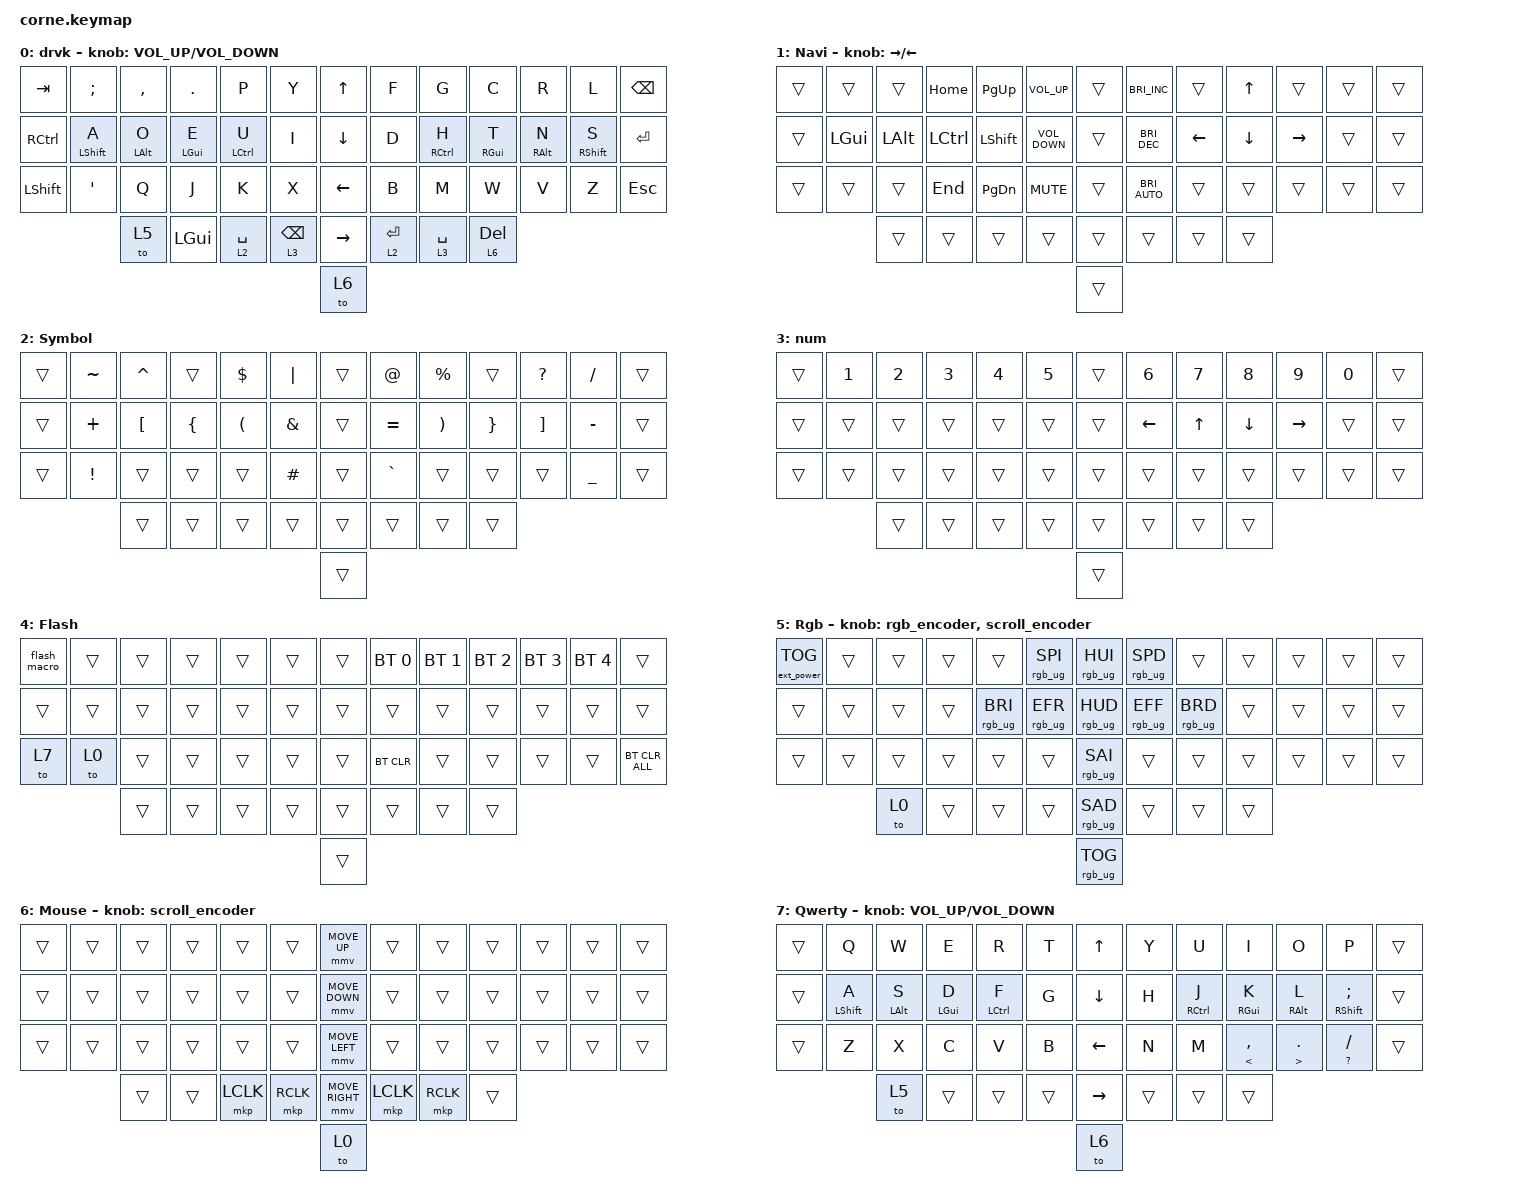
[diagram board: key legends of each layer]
#define ZMK_MOUSE_DEFAULT_SCRL_VAL 35 // 10

#include <behaviors/mouse_keys.dtsi>
#include <behaviors.dtsi>
#include <dt-bindings/zmk/bt.h>
#include <dt-bindings/zmk/ext_power.h>
#include <dt-bindings/zmk/keys.h>
#include <dt-bindings/zmk/mouse.h>
#include <dt-bindings/zmk/rgb.h>

&msc {
    acceleration-exponent = <0>;      // 0
    time-to-max-speed-ms = <0>;       // 300
    delay-ms = <0>;                   // 0
};

&mmv {
    time-to-max-speed-ms = <400>;
    acceleration-exponent = <1>;
};

/ {
    macros {
        flash_macro: flash_macro {
            compatible = "zmk,behavior-macro";
            #binding-cells = <0>;
            bindings = <&bootloader>;
        };
    };

    behaviors {
        hm: homerow_mods {
            compatible = "zmk,behavior-hold-tap";
            label = "HOMEROW_MODS";
            bindings = <&kp>, <&kp>;

            #binding-cells = <2>;
            tapping-term-ms = <200>;
            quick-tap-ms = <180>;
            flavor = "tap-preferred";
        };

        ltq: ltq {
            compatible = "zmk,behavior-hold-tap";
            label = "LTQ";
            bindings = <&mo>, <&kp>;

            #binding-cells = <2>;
            tapping-term-ms = <200>;
            quick-tap-ms = <180>;
        };

        as: auto_shift {
            compatible = "zmk,behavior-hold-tap";
            label = "AUTO_SHIFT";
            bindings = <&kp>, <&kp>;

            #binding-cells = <2>;
            tapping-term-ms = <135>;
            quick-tap-ms = <0>;
        };

        rgb_encoder: rgb_encoder {
            compatible = "zmk,behavior-sensor-rotate";
            label = "RGB_ENCODER";
            #sensor-binding-cells = <0>;
            bindings = <&rgb_ug RGB_BRI>, <&rgb_ug RGB_BRD>;
        };

        scroll_encoder: scroll_encoder {
            compatible = "zmk,behavior-sensor-rotate";
            #sensor-binding-cells = <0>;
            bindings = <&msc SCRL_UP>, <&msc SCRL_DOWN>;

            tap-ms = <30>;
        };
    };

    combos {
        compatible = "zmk,combos";

        esc {
            bindings = <&kp ESCAPE>;
            key-positions = <0 1>;
        };

        left_bkt {
            bindings = <&kp LEFT_BRACKET>;
            key-positions = <3 4>;
        };

        right_bkt {
            bindings = <&kp RIGHT_BRACKET>;
            key-positions = <9 8>;
        };

        left_par {
            bindings = <&kp LEFT_PARENTHESIS>;
            key-positions = <16 17>;
        };

        right_par {
            bindings = <&kp RIGHT_PARENTHESIS>;
            key-positions = <21 22>;
        };

        left_brace {
            bindings = <&kp LEFT_BRACE>;
            key-positions = <29 30>;
        };

        right_brace {
            bindings = <&kp RIGHT_BRACE>;
            key-positions = <34 35>;
        };

        bac {
            bindings = <&kp BACKSLASH>;
            key-positions = <5 7>;
        };

        pipe {
            bindings = <&kp PIPE>;
            key-positions = <18 20>;
        };
    };

    keymap {
        compatible = "zmk,keymap";

        DVRK {
            bindings = <
&kp TAB    &kp SEMI      &kp COMMA   &kp DOT         &kp P         &kp Y               &kp UP_ARROW     &kp F         &kp G         &kp C            &kp R       &kp L        &kp BSPC
&kp RCTRL  &hm LSHIFT A  &hm LALT O  &hm LEFT_GUI E  &hm LCTRL U   &kp I               &kp DOWN_ARROW   &kp D         &hm RCTRL H   &hm RIGHT_GUI T  &hm RALT N  &hm RSHFT S  &kp RET
&kp LSHFT  &kp SQT       &kp Q       &kp J           &kp K         &kp X               &kp LEFT_ARROW   &kp B         &kp M         &kp W            &kp V       &kp Z        &kp ESCAPE
                         &to 5       &kp LGUI        &ltq 2 SPACE  &ltq 3 BACKSPACE    &kp RIGHT_ARROW  &ltq 2 ENTER  &ltq 3 SPACE  &ltq 6 DELETE
                                                                                       &to 6
            >;

            label = "drvk";
            sensor-bindings = <&inc_dec_kp C_VOLUME_UP C_VOLUME_DOWN>;
        };

        Navi {
            bindings = <
&trans  &trans        &trans        &kp HOME          &kp PAGE_UP     &kp C_VOLUME_UP      &trans  &kp C_BRIGHTNESS_INC   &trans          &kp UP_ARROW    &trans           &trans  &trans
&trans  &kp LEFT_GUI  &kp LEFT_ALT  &kp LEFT_CONTROL  &kp LEFT_SHIFT  &kp C_VOLUME_DOWN    &trans  &kp C_BRIGHTNESS_DEC   &kp LEFT_ARROW  &kp DOWN_ARROW  &kp RIGHT_ARROW  &trans  &trans
&trans  &trans        &trans        &kp END           &kp PAGE_DOWN   &kp K_MUTE           &trans  &kp C_BRIGHTNESS_AUTO  &trans          &trans          &trans           &trans  &trans
                      &trans        &trans            &trans          &trans               &trans  &trans                 &trans          &trans
                                                                                           &trans
            >;

            sensor-bindings = <&inc_dec_kp RIGHT_ARROW LEFT_ARROW>;
            label = "Navi";
        };

        Symbol {
            bindings = <
&trans  &kp TILDE        &kp CARET  &trans    &kp DOLLAR  &kp PIPE    &trans  &kp AT     &kp PERCENT  &trans    &kp QUESTION  &kp SLASH       &trans
&trans  &kp PLUS         &kp LBKT   &kp LBRC  &kp LPAR    &kp AMPS    &trans  &kp EQUAL  &kp RPAR     &kp RBRC  &kp RBKT      &kp MINUS       &trans
&trans  &kp EXCLAMATION  &trans     &trans    &trans      &kp HASH    &trans  &kp GRAVE  &trans       &trans    &trans        &kp UNDERSCORE  &trans
                         &trans     &trans    &trans      &trans      &trans  &trans     &trans       &trans
                                                                      &trans
            >;

            label = "Symbol";
        };

        NUM {
            bindings = <
&trans  &kp NUMBER_1  &kp NUMBER_2  &kp NUMBER_3  &kp NUMBER_4  &kp NUMBER_5    &trans  &kp NUMBER_6    &kp NUMBER_7  &kp NUMBER_8  &kp NUMBER_9  &kp NUMBER_0  &trans
&trans  &trans        &trans        &trans        &trans        &trans          &trans  &kp LEFT_ARROW  &kp UP        &kp DOWN      &kp RIGHT     &trans        &trans
&trans  &trans        &trans        &trans        &trans        &trans          &trans  &trans          &trans        &trans        &trans        &trans        &trans
                      &trans        &trans        &trans        &trans          &trans  &trans          &trans        &trans
                                                                                &trans
            >;

            label = "num";
        };

        Flash {
            bindings = <
&flash_macro  &trans  &trans  &trans  &trans  &trans    &trans  &bt BT_SEL 0  &bt BT_SEL 1  &bt BT_SEL 2  &bt BT_SEL 3  &bt BT_SEL 4  &trans
&trans        &trans  &trans  &trans  &trans  &trans    &trans  &trans        &trans        &trans        &trans        &trans        &trans
&to 7         &to 0   &trans  &trans  &trans  &trans    &trans  &bt BT_CLR    &trans        &trans        &trans        &trans        &bt BT_CLR_ALL
                      &trans  &trans  &trans  &trans    &trans  &trans        &trans        &trans
                                                        &trans
            >;

            label = "Flash";
        };

        Rgb {
            bindings = <
&ext_power EP_TOG  &trans  &trans  &trans  &trans           &rgb_ug RGB_SPI    &rgb_ug RGB_HUI  &rgb_ug RGB_SPD  &trans           &trans  &trans  &trans  &trans
&trans             &trans  &trans  &trans  &rgb_ug RGB_BRI  &rgb_ug RGB_EFR    &rgb_ug RGB_HUD  &rgb_ug RGB_EFF  &rgb_ug RGB_BRD  &trans  &trans  &trans  &trans
&trans             &trans  &trans  &trans  &trans           &trans             &rgb_ug RGB_SAI  &trans           &trans           &trans  &trans  &trans  &trans
                           &to 0   &trans  &trans           &trans             &rgb_ug RGB_SAD  &trans           &trans           &trans
                                                                               &rgb_ug RGB_TOG
            >;

            label = "Rgb";
            sensor-bindings = <&rgb_encoder &scroll_encoder>;
        };

        Mouse {
            bindings = <
&trans  &trans  &trans  &trans  &trans     &trans       &mmv MOVE_UP     &trans     &trans     &trans  &trans  &trans  &trans
&trans  &trans  &trans  &trans  &trans     &trans       &mmv MOVE_DOWN   &trans     &trans     &trans  &trans  &trans  &trans
&trans  &trans  &trans  &trans  &trans     &trans       &mmv MOVE_LEFT   &trans     &trans     &trans  &trans  &trans  &trans
                &trans  &trans  &mkp LCLK  &mkp RCLK    &mmv MOVE_RIGHT  &mkp LCLK  &mkp RCLK  &trans
                                                        &to 0
            >;

            label = "Mouse";
            sensor-bindings = <&scroll_encoder>;
        };

        QWERTY {
            label = "Qwerty";
            bindings = <
&trans  &kp Q         &kp W           &kp E       &kp R        &kp T     &kp UP_ARROW     &kp Y   &kp U        &kp I                &kp O                    &kp P                 &trans
&trans  &hm LSHIFT A  &hm LEFT_ALT S  &hm LGUI D  &hm LCTRL F  &kp G     &kp DOWN_ARROW   &kp H   &hm RCTRL J  &hm RGUI K           &hm RIGHT_ALT L          &hm RSHIFT SEMICOLON  &trans
&trans  &kp Z         &kp X           &kp C       &kp V        &kp B     &kp LEFT_ARROW   &kp N   &kp M        &as LESS_THAN COMMA  &as GREATER_THAN PERIOD  &as QUESTION SLASH    &trans
                      &to 5           &trans      &trans       &trans    &kp RIGHT_ARROW  &trans  &trans       &trans
                                                                         &to 6
            >;

            sensor-bindings = <&inc_dec_kp C_VOLUME_UP C_VOLUME_DOWN>;
        };
    };

    conditional_layers {
        compatible = "zmk,conditional-layers";

        Flash {
            if-layers = <3 2>;
            then-layer = <4>;
        };
    };
};
